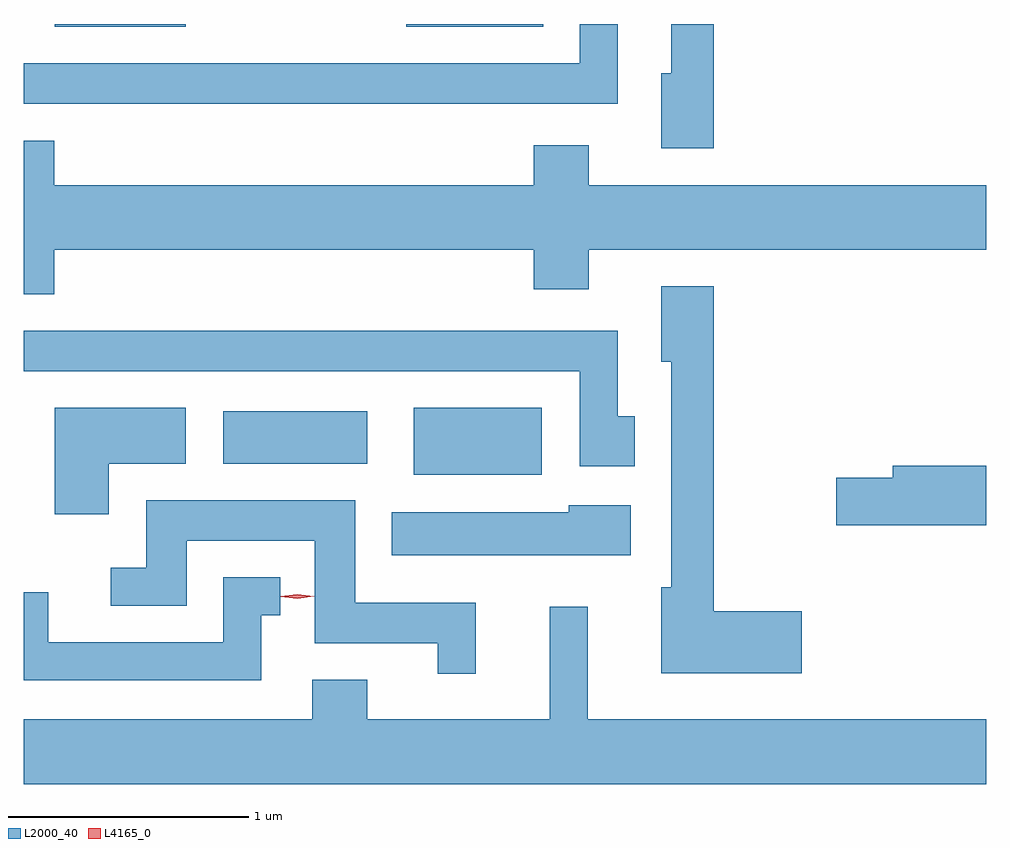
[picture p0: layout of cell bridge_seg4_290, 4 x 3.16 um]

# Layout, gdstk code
import gdstk
lib = gdstk.Library(unit=1e-6, precision=1e-09)
def R(c, l, rs):  # rectangles x0, y0, x1, y1
    for r in rs: c.add(gdstk.rectangle(r[:2], r[2:], *l))
def P(c, l, *ps):  # polygons
    for p in ps: c.add(gdstk.Polygon(p, *l))
L2000_40 = (2000, 40)
L4165_0 = (4165, 0)

bridge_seg4_290 = lib.new_cell('bridge_seg4_290')
R(bridge_seg4_290, L2000_40, [(531.341,1267.161,531.874,1267.439), (530.551,1267.206,531.149,1267.424), (529.851,1269.021,530.394,1269.033), (531.311,1269.021,531.879,1269.033)])
P(bridge_seg4_290, L2000_40, [(532.189,1269.033),(532.031,1269.033),(532.031,1268.869),(529.721,1268.869),(529.721,1268.701),(532.189,1268.701)],
  [(532.589,1269.033),(532.411,1269.033),(532.411,1268.829),(532.371,1268.829),(532.371,1268.516),(532.589,1268.516)],
  [(529.849,1268.096),(531.841,1268.096),(531.841,1267.931),(532.069,1267.931),(532.069,1268.096),(533.721,1268.096),(533.721,1268.364),(532.069,1268.364),(532.069,1268.529),(531.841,1268.529),(531.841,1268.364),(529.849,1268.364),(529.849,1268.549),(529.721,1268.549),(529.721,1267.911),(529.849,1267.911)],
  [(532.954,1266.594),(532.589,1266.594),(532.589,1267.944),(532.371,1267.944),(532.371,1267.631),(532.411,1267.631),(532.411,1266.694),(532.371,1266.694),(532.371,1266.336),(532.954,1266.336)],
  [(532.259,1267.404),(532.189,1267.404),(532.189,1267.759),(529.721,1267.759),(529.721,1267.591),(532.031,1267.591),(532.031,1267.196),(532.259,1267.196)],
  [(530.074,1267.206),(530.394,1267.206),(530.394,1267.439),(529.851,1267.439),(529.851,1266.996),(530.074,1266.996)],
  [(533.721,1267.199),(533.331,1267.199),(533.331,1267.149),(533.096,1267.149),(533.096,1266.951),(533.721,1266.951)],
  [(531.599,1266.629),(531.099,1266.629),(531.099,1267.054),(530.231,1267.054),(530.231,1266.774),(530.083,1266.774),(530.083,1266.616),(530.399,1266.616),(530.399,1266.886),(530.931,1266.886),(530.931,1266.461),(531.441,1266.461),(531.441,1266.333),(531.599,1266.333)],
  [(532.244,1267.034),(531.986,1267.034),(531.986,1267.004),(531.251,1267.004),(531.251,1266.826),(532.244,1266.826)],
  [(530.709,1266.576),(530.788,1266.576),(530.788,1266.734),(530.551,1266.734),(530.551,1266.464),(529.824,1266.464),(529.824,1266.673),(529.721,1266.673),(529.721,1266.306),(530.709,1266.306)],
  [(533.721,1266.144),(532.064,1266.144),(532.064,1266.613),(531.906,1266.613),(531.906,1266.144),(531.149,1266.144),(531.149,1266.309),(530.921,1266.309),(530.921,1266.144),(529.721,1266.144),(529.721,1265.876),(533.721,1265.876)])
P(bridge_seg4_290, L4165_0, [(530.858,1266.646),(530.789,1266.654),(530.789,1266.655),(530.789,1266.656),(530.858,1266.665),(530.928,1266.656),(530.928,1266.656),(530.928,1266.655)])

lib.write_gds('bridge_seg4_290.gds')
